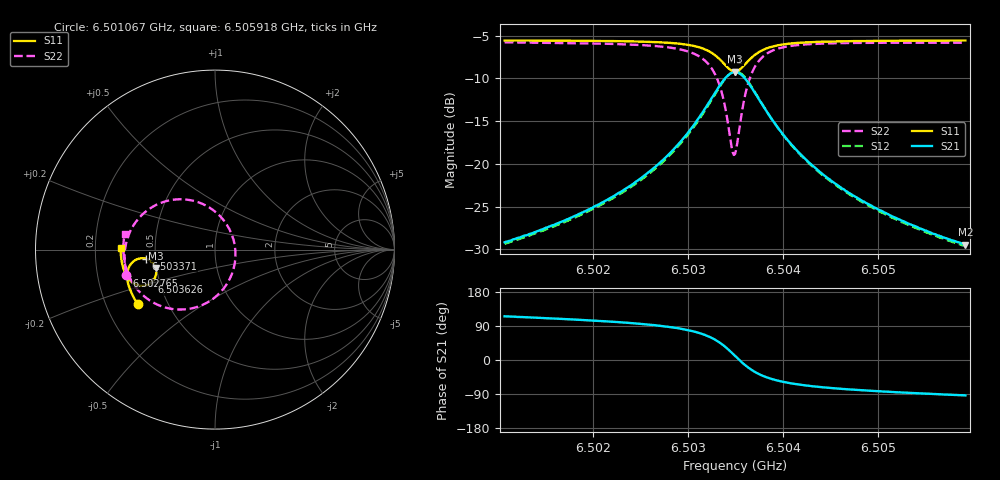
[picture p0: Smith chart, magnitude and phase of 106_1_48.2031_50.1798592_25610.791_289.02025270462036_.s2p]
#  HZ  S  RI  R  50.00
! Rohde & Schwarz Vector Network Analyzer
! Rohde-Schwarz,ZNB20-2Port,1311601062101988,3.16
! Created: UTC 3/20/2024, 11:40:47 AM
! freq[Hz]  re:S11  im:S11  re:S21  im:S21  re:S12  im:S12  re:S22  im:S22
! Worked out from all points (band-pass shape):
!   401 points, 6.501067 GHz to 6.505918 GHz, reference 50 ohm
!   highest |S21| = -9.27 dB at 6.503492 GHz (marker M1); lowest = -29.5 dB at 6.505918 GHz (marker M2)
!   |S21| within 3 dB of the highest: 6.503249 GHz to 6.503735 GHz (485.3 kHz wide, 0.00746 % of centre)
!   lowest |S11| = -9.2 dB at 6.503492 GHz (marker M3), VSWR 2.06, Z = 24.7 - j5.78 ohm
!   |S11| at or under -10 dB: nowhere
!   |S22| runs from -19.0 to -5.8 dB; largest |S21 - S12| = 0.012
!   S11 on the Smith chart (normalised r, x): 6.501067 GHz: 0.34, -0.28; 6.502765 GHz: 0.33, -0.13; 6.503371 GHz: 0.44, -0.05; 6.503626 GHz: 0.45, -0.19; 6.505918 GHz: 0.31, +0.01
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6.5010666e9  -0.4316 -0.3018  -0.0148 0.0314  -0.013 0.0315  -0.4932 -0.1428
6.5018792e9  -0.4656 -0.2405  -0.0139 0.0498  -0.0115 0.0493  -0.5043 -0.054
6.502328e9  -0.481 -0.1998  -0.0107 0.0701  -0.00768 0.0686  -0.4997 0.0121
6.5026919e9  -0.4891 -0.1584  -0.00127 0.1004  0.00253 0.0979  -0.4783 0.0881
6.5027646e9  -0.4895 -0.1485  0.00291 0.1094  0.00667 0.1065  -0.4695 0.1077
6.5029708e9  -0.4856 -0.115  0.0246 0.1435  0.0284 0.1391  -0.424 0.1756
6.5031285e9  -0.4706 -0.0827  0.0648 0.1802  0.0676 0.1741  -0.3456 0.2396
6.5032741e9  -0.432 -0.0529  0.1479 0.2091  0.1486 0.2027  -0.1938 0.2805
6.5033226e9  -0.4105 -0.0482  0.1912 0.2076  0.1913 0.2016  -0.1181 0.2713
6.5033711e9  -0.3848 -0.0505  0.2409 0.1919  0.241 0.1871  -0.0329 0.2355
6.503456e9  -0.3414 -0.0804  0.32 0.1156  0.3225 0.1111  0.0931 0.0849
6.5034924e9  -0.3304 -0.1029  0.3377 0.0658  0.3412 0.0602  0.1137 -0.00847
6.5035166e9  -0.3276 -0.1194  0.3406 0.0307  0.3449 0.0236  0.1107 -0.0731
6.503553e9  -0.3298 -0.1438  0.333 -0.0204  0.3366 -0.0294  0.0821 -0.1633
6.5036258e9  -0.3525 -0.1813  0.2854 -0.0974  0.2851 -0.1092  -0.0308 -0.2875
6.5037228e9  -0.3941 -0.2011  0.2058 -0.141  0.2008 -0.1512  -0.1927 -0.3339
6.5038805e9  -0.4437 -0.1935  0.1165 -0.1399  0.1094 -0.1455  -0.3548 -0.2888
6.5040503e9  -0.473 -0.1724  0.0681 -0.1186  0.0616 -0.1212  -0.4335 -0.2205
6.504305e9  -0.4957 -0.1411  0.035 -0.0915  0.0301 -0.0921  -0.4815 -0.1419
6.5046689e9  -0.5113 -0.1022  0.0153 -0.0673  0.0118 -0.0669  -0.5044 -0.0657
6.5051177e9  -0.5208 -0.0599  0.00525 -0.0499  0.00295 -0.0492  -0.5107 6.6e-05
6.5059182e9  -0.5259 0.00833  -0.00206 -0.0336  -0.00334 -0.0328  -0.5035 0.0871
